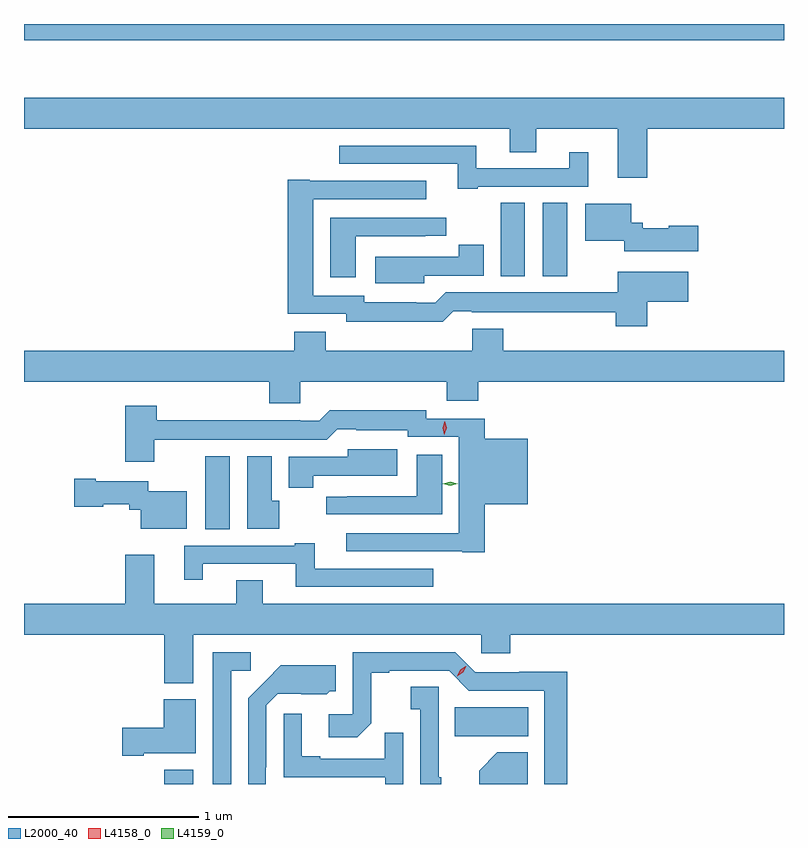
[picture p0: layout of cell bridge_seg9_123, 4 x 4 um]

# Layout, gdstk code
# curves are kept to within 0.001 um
import gdstk
lib = gdstk.Library(unit=1e-6, precision=1e-09)
def R(c, l, rs):  # rectangles x0, y0, x1, y1
    for r in rs: c.add(gdstk.rectangle(r[:2], r[2:], *l))
def P(c, l, *ps):  # polygons
    for p in ps: c.add(gdstk.Polygon(p, *l))
L2000_40 = (2000, 40)
L4158_0 = (4158, 0)
L4159_0 = (4159, 0)

bridge_seg9_123 = lib.new_cell('bridge_seg9_123')
R(bridge_seg9_123, L2000_40, [(503.249,1228.935,503.401,1229.011), (504.778,1229.186,505.165,1229.338), (503.465,1230.276,503.593,1230.661), (505.241,1231.607,505.369,1231.993), (505.019,1231.608,505.147,1231.994), (502.511,1232.85,506.511,1232.935)])
P(bridge_seg9_123, L2000_40, [(505.79,1232.384),(506.511,1232.384),(506.511,1232.548),(502.511,1232.548),(502.511,1232.384),(505.067,1232.384),(505.067,1232.26),(505.207,1232.26),(505.207,1232.384),(505.637,1232.384),(505.637,1232.127),(505.79,1232.127)],
  [(504.898,1232.079),(505.48,1232.079),(505.48,1232.26),(505.382,1232.26),(505.382,1232.175),(504.892,1232.175),(504.892,1232.295),(504.171,1232.295),(504.171,1232.199),(504.794,1232.199),(504.794,1232.067),(504.898,1232.067)],
  [(505.79,1231.472),(506.008,1231.472),(506.008,1231.63),(505.637,1231.63),(505.637,1231.522),(504.73,1231.522),(504.675,1231.467),(504.575,1231.467),(504.575,1231.471),(504.303,1231.471),(504.303,1231.506),(504.034,1231.506),(504.034,1232.013),(504.628,1232.013),(504.628,1232.109),(504.016,1232.109),(504.016,1232.114),(503.9,1232.114),(503.9,1231.41),(504.207,1231.41),(504.207,1231.367),(504.714,1231.367),(504.769,1231.422),(504.868,1231.422),(504.868,1231.418),(505.625,1231.418),(505.625,1231.344),(505.79,1231.344)],
  [(506.059,1231.874),(505.905,1231.874),(505.905,1231.861),(505.768,1231.861),(505.768,1231.89),(505.708,1231.89),(505.708,1231.99),(505.466,1231.99),(505.466,1231.793),(505.67,1231.793),(505.67,1231.739),(506.059,1231.739)],
  [(504.256,1231.818),(504.623,1231.818),(504.623,1231.82),(504.733,1231.82),(504.733,1231.914),(504.122,1231.914),(504.122,1231.602),(504.256,1231.602)],
  [(504.618,1231.61),(504.931,1231.61),(504.931,1231.774),(504.8,1231.774),(504.8,1231.711),(504.36,1231.711),(504.36,1231.571),(504.618,1231.571)],
  [(503.966,1231.052),(504.737,1231.052),(504.737,1230.953),(504.902,1230.953),(504.902,1231.052),(506.511,1231.052),(506.511,1231.216),(505.034,1231.216),(505.034,1231.33),(504.869,1231.33),(504.869,1231.216),(504.098,1231.216),(504.098,1231.315),(503.933,1231.315),(503.933,1231.216),(502.511,1231.216),(502.511,1231.052),(503.801,1231.052),(503.801,1230.938),(503.966,1230.938)],
  [(504.935,1230.407),(505.162,1230.407),(505.162,1230.751),(504.935,1230.751),(504.935,1230.858),(504.627,1230.858),(504.627,1230.901),(504.12,1230.901),(504.065,1230.846),(503.966,1230.846),(503.966,1230.85),(503.21,1230.85),(503.21,1230.925),(503.045,1230.925),(503.045,1230.63),(503.197,1230.63),(503.197,1230.746),(504.104,1230.746),(504.159,1230.801),(504.259,1230.801),(504.259,1230.797),(504.531,1230.797),(504.531,1230.762),(504.8,1230.762),(504.8,1230.255),(504.207,1230.255),(504.207,1230.159),(504.818,1230.159),(504.818,1230.154),(504.935,1230.154)],
  [(504.034,1230.557),(504.475,1230.557),(504.475,1230.697),(504.216,1230.697),(504.216,1230.658),(503.904,1230.658),(503.904,1230.494),(504.034,1230.494)],
  [(504.712,1230.667),(504.578,1230.667),(504.578,1230.45),(504.211,1230.45),(504.211,1230.448),(504.101,1230.448),(504.101,1230.354),(504.712,1230.354)],
  [(503.854,1230.426),(503.815,1230.426),(503.815,1230.661),(503.687,1230.661),(503.687,1230.278),(503.854,1230.278)],
  [(503.368,1230.475),(503.164,1230.475),(503.164,1230.529),(502.888,1230.529),(502.888,1230.542),(502.776,1230.542),(502.776,1230.395),(502.929,1230.395),(502.929,1230.407),(503.066,1230.407),(503.066,1230.378),(503.126,1230.378),(503.126,1230.278),(503.368,1230.278)],
  [(504.664,1230.069),(504.04,1230.069),(504.04,1230.202),(503.936,1230.202),(503.936,1230.189),(503.354,1230.189),(503.354,1230.009),(503.452,1230.009),(503.452,1230.093),(503.942,1230.093),(503.942,1229.973),(504.664,1229.973)],
  [(503.401,1229.72),(504.918,1229.72),(504.918,1229.622),(505.07,1229.622),(505.07,1229.72),(506.511,1229.72),(506.511,1229.884),(503.767,1229.884),(503.767,1230.008),(503.627,1230.008),(503.627,1229.884),(503.197,1229.884),(503.197,1230.142),(503.045,1230.142),(503.045,1229.884),(502.511,1229.884),(502.511,1229.72),(503.249,1229.72),(503.249,1229.465),(503.401,1229.465)],
  [(503.601,1229.532),(503.704,1229.532),(503.704,1229.628),(503.505,1229.628),(503.505,1228.935),(503.601,1228.935)],
  [(505.369,1229.525),(505.118,1229.525),(505.118,1229.523),(504.885,1229.523),(504.78,1229.628),(504.24,1229.628),(504.24,1229.301),(504.114,1229.301),(504.114,1229.18),(504.264,1229.18),(504.339,1229.255),(504.339,1229.52),(504.433,1229.52),(504.433,1229.532),(504.748,1229.532),(504.853,1229.427),(505.25,1229.427),(505.25,1228.935),(505.369,1228.935)],
  [(503.784,1229.023),(503.787,1229.023),(503.787,1229.349),(503.847,1229.409),(504.104,1229.408),(504.12,1229.424),(504.151,1229.424),(504.151,1229.56),(503.863,1229.56),(503.691,1229.386),(503.691,1228.935),(503.784,1228.935)],
  [(504.707,1228.971),(504.693,1228.971),(504.693,1229.447),(504.546,1229.447),(504.546,1229.329),(504.597,1229.329),(504.597,1228.935),(504.707,1228.935)],
  [(503.14,1229.096),(503.416,1229.096),(503.416,1229.38),(503.246,1229.38),(503.246,1229.231),(503.028,1229.231),(503.028,1229.084),(503.14,1229.084)],
  [(504.507,1229.206),(504.409,1229.206),(504.409,1229.067),(504.07,1229.067),(504.07,1229.08),(503.974,1229.08),(503.974,1229.305),(503.877,1229.305),(503.877,1228.971),(504.411,1228.971),(504.411,1228.935),(504.507,1228.935)],
  [(505.162,1229.101),(505.003,1229.101),(504.908,1229.006),(504.908,1228.935),(505.162,1228.935)])
P(bridge_seg9_123, L4158_0, [(504.792,1229.503),(504.792,1229.504),(504.807,1229.536),(504.837,1229.556),(504.838,1229.556),(504.838,1229.555),(504.822,1229.523),(504.792,1229.503)],
  [(504.723,1230.773),(504.723,1230.773),(504.715,1230.809),(504.726,1230.845),(504.726,1230.845),(504.726,1230.845),(504.735,1230.809),(504.724,1230.773)])
P(bridge_seg9_123, L4159_0, [(504.754,1230.505),(504.715,1230.514),(504.715,1230.515),(504.715,1230.515),(504.754,1230.525),(504.793,1230.516),(504.793,1230.516),(504.793,1230.515)])

lib.write_gds('bridge_seg9_123.gds')
